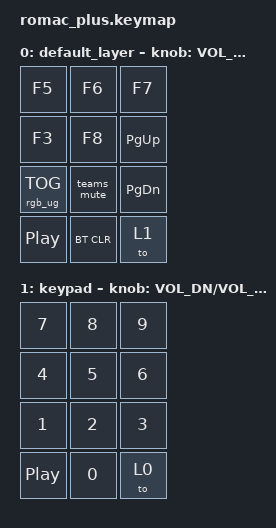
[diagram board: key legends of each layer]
/*
 * Copyright (c) 2020 The ZMK Contributors
 *
 * SPDX-License-Identifier: MIT
 */

#include <behaviors.dtsi>
#include <dt-bindings/zmk/bt.h>
#include <dt-bindings/zmk/keys.h>
#include <dt-bindings/zmk/rgb.h>

#define DEFAULT 0
#define KEYPAD  1

&led_strip {
    chain-length = <4>;
};

/ {


macros {
        zed_em_kay: zed_em_kay {
            label = "ZM_zed_em_kay";
            compatible = "zmk,behavior-macro";
            #binding-cells = <0>;
            bindings
                = <&macro_press &kp LSHFT>
                , <&macro_tap &kp Z &kp M &kp K>
                , <&macro_release &kp LSHFT>
                ;
        };
        teams_mute: teams_mute {
            label = "teams_mute";
            compatible = "zmk,behavior-macro";
            #binding-cells = <0>;
            bindings
                = <&macro_press &kp LSHFT>
                , <&macro_press &kp LCTRL>
                , <&macro_tap &kp M>
                , <&macro_release &kp LSHFT>
                , <&macro_release &kp LCTRL>
                ;
        };
    };

    keymap {
        compatible = "zmk,keymap";

        default_layer {
// --------------------------
// | F5          |  F6        |  F7      |
// | F3          |  F8        |  PG_UP   |
// | BT_NEXT     |  BT_PREV   |  PG_DOWN |
// | M_PLAY      |  BT_CLEAR  |  TOGGLE  |
// --------------------------
             bindings = <
     &kp F5             &kp F6         &kp F7
     &kp F3             &kp F8         &kp PG_UP
     &rgb_ug RGB_TOG    &teams_mute    &kp PG_DN
     &kp C_PP           &bt BT_CLR     &to 1
             >;

             sensor-bindings = <&inc_dec_kp C_VOL_DN C_VOL_UP>;
         };

        keypad {
// --------------------------
// | 7      |  8  |  9      |
// | 4      |  5  |  6      |
// | 1      |  2  |  3      |
// | M_PLAY |  0  |  TOGGLE |
// --------------------------
            bindings = <
    &kp N7       &kp N8     &kp N9
    &kp N4       &kp N5     &kp N6
    &kp N1       &kp N2     &kp N3
    &kp C_PP     &kp N0     &to 0 
            >;

            sensor-bindings = <&inc_dec_kp C_VOL_DN C_VOL_UP>;
        };

         
    };
};
